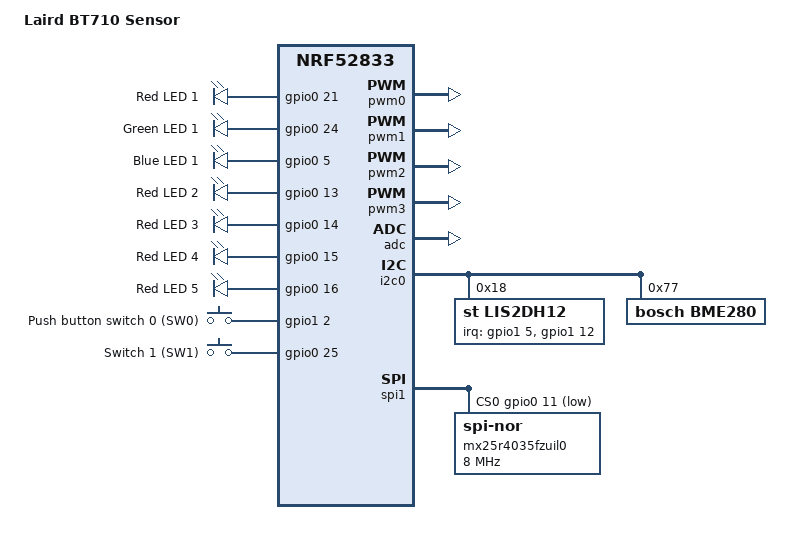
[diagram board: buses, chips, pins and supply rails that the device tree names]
/*
 * Copyright (c) 2020 Laird Connectivity
 *
 * SPDX-License-Identifier: Apache-2.0
 */

/dts-v1/;
#include <nordic/nrf52833_qiaa.dtsi>
#include "bt710-pinctrl.dtsi"

/ {
	model = "Laird BT710 Sensor";
	compatible = "lairdconnect,bt710";

	chosen {
		zephyr,sram = &sram0;
		zephyr,flash = &flash0;
		zephyr,code-partition = &slot0_partition;
		zephyr,ieee802154 = &ieee802154;
	};

	leds {
		compatible = "gpio-leds";

		led1red: led_1red {
			gpios = <&gpio0 21 GPIO_ACTIVE_HIGH>;
			label = "Red LED 1";
		};

		led1green: led_1green {
			gpios = <&gpio0 24 GPIO_ACTIVE_HIGH>;
			label = "Green LED 1";
		};

		led1blue: led_1blue {
			gpios = <&gpio0 5 GPIO_ACTIVE_HIGH>;
			label = "Blue LED 1";
		};

		led2red: led_2red {
			gpios = <&gpio0 13 GPIO_ACTIVE_HIGH>;
			label = "Red LED 2";
		};

		led3red: led_3red {
			gpios = <&gpio0 14 GPIO_ACTIVE_HIGH>;
			label = "Red LED 3";
		};

		led4red: led_4red {
			gpios = <&gpio0 15 GPIO_ACTIVE_HIGH>;
			label = "Red LED 4";
		};

		led5red: led_5red {
			gpios = <&gpio0 16 GPIO_ACTIVE_HIGH>;
			label = "Red LED 5";
		};
	};

/*
	pwmleds {
		compatible = "pwm-leds";

		led1red_pwm: led_pwm_1red {
			pwms = <&pwm1 21>;
			label = "Red PWM LED 1";
		};

		led1green_pwm: led_pwm_1green {
			pwms = <&pwm1 24>;
			label = "Green PWM LED 1";
		};

		led1blue_pwm: led_pwm_1blue {
			pwms = <&pwm1 5>;
			label = "Blue PWM LED 1";
		};

		led2red_pwm: led_pwm_2red {
			pwms = <&pwm2 13>;
			label = "Red PWM LED 2";
		};

		led3red_pwm: led_pwm_3red {
			pwms = <&pwm2 14>;
			label = "Red PWM LED 2";
		};

		led4red_pwm: led_pwm_4red {
			pwms = <&pwm2 15>;
			label = "Red PWM LED 2";
		};

		led5red_pwm: led_pwm_5red {
			pwms = <&pwm2 16>;
			label = "Red PWM LED 2";
		};

	};
*/

	buttons {
		compatible = "gpio-keys";

		button0: button_0 {
			gpios = <&gpio1 2 GPIO_PULL_UP>;
			label = "Push button switch 0 (SW0)";
		};

		switch1: button_1 {
			gpios = <&gpio0 25 GPIO_PULL_DOWN>;
			label = "Switch 1 (SW1)";
		};
	};

/*
	piezos {
		compatible = "pwm-leds";

		piezo0: piezo_0 {
			pwms = <&pwm0 17>;
			label = "Piezo";
		};
	};

	vibemotors {
		compatible = "pwm-leds";

		vibe0: vibe_0 {
			pwms = <&pwm3 20>;
			label = "Vibe Motor";
		};
	};
*/

	aliases {
		led0 = &led1red;
		led1r = &led1red;
		led1g = &led1green;
		led1b = &led1blue;
		led2 = &led2red;
		led3 = &led3red;
		led4 = &led4red;
		led5 = &led5red;
/*
		led1rpwm = &led1red_pwm;
		led1gpwm = &led1green_pwm;
		led1bpwm = &led1blue_pwm;
		led2pwm = &led2red_pwm;
		led3pwm = &led3red_pwm;
		led4pwm = &led4red_pwm;
		led5pwm = &led5red_pwm;
*/
		sw0 = &button0;
		sw1 = &switch1;
/*
		piezo = &piezo0;
		vibemotor = &vibe0;
*/
	};
};

&pwm0 {
	status = "okay";
	pinctrl-0 = <&pwm0_default>;
	pinctrl-1 = <&pwm0_sleep>;
	pinctrl-names = "default", "sleep";
/*
	ch0-pin = <17>;
*/
};

&pwm1 {
	status = "okay";
	pinctrl-0 = <&pwm1_default>;
	pinctrl-1 = <&pwm1_sleep>;
	pinctrl-names = "default", "sleep";
/*
    ch0-pin = <21>;
    ch1-pin = <24>;
    ch2-pin = <5>;
*/
};

&pwm2 {
	status = "okay";
	pinctrl-0 = <&pwm2_default>;
	pinctrl-1 = <&pwm2_sleep>;
	pinctrl-names = "default", "sleep";
/*
    ch0-pin = <13>;
    ch1-pin = <14>;
    ch2-pin = <15>;
    ch3-pin = <16>;
*/
};

&pwm3 {
	status = "okay";
	pinctrl-0 = <&pwm3_default>;
	pinctrl-1 = <&pwm3_sleep>;
	pinctrl-names = "default", "sleep";
/*
	ch0-pin = <20>;
*/
};

&adc {
	status = "okay";
};

&gpiote {
	status = "okay";
};

&gpio0 {
	status = "okay";
};

&gpio1 {
	status = "okay";
};

&uart0 {
	compatible = "nordic,nrf-uart";
	current-speed = <115200>;
	status = "disabled";
	pinctrl-0 = <&uart0_default>;
	pinctrl-1 = <&uart0_sleep>;
	pinctrl-names = "default", "sleep";
};

&i2c0 {
	compatible = "nordic,nrf-twi";
	status = "okay";
	pinctrl-0 = <&i2c0_default>;
	pinctrl-1 = <&i2c0_sleep>;
	pinctrl-names = "default", "sleep";

	lis2dh12@18 {
		compatible = "st,lis2dh12", "st,lis2dh";
		reg = <0x18>;
		irq-gpios = <&gpio1 5 GPIO_ACTIVE_HIGH>,
			    <&gpio1 12 GPIO_ACTIVE_HIGH>;
	};

	bme280@77 {
		compatible = "bosch,bme280";
		reg = <0x77>;
	};
};

&spi1 {
	compatible = "nordic,nrf-spi";
	status = "okay";
	pinctrl-0 = <&spi1_default>;
	pinctrl-1 = <&spi1_sleep>;
	pinctrl-names = "default", "sleep";
	cs-gpios = <&gpio0 11 GPIO_ACTIVE_LOW>;

	mx25r4035fzuil0@0 {
		compatible = "jedec,spi-nor";
		reg = <0>;
		spi-max-frequency = <8000000>;
		size = <0x400000>;
		has-dpd;
		t-enter-dpd = <10000>;
		t-exit-dpd = <35000>;
		jedec-id = [c2 28 13];
	};
};

&flash0 {
	partitions {
		compatible = "fixed-partitions";
		#address-cells = <1>;
		#size-cells = <1>;

		boot_partition: partition@0 {
			label = "mcuboot";
			reg = <0x000000000 0xC000>;
		};
		slot0_partition: partition@c000 {
			label = "image-0";
			reg = <0x0000C000 0x32000>;
		};
		slot1_partition: partition@3e000 {
			label = "image-1";
			reg = <0x0003E000 0x32000>;
		};
		scratch_partition: partition@70000 {
			label = "image-scratch";
			reg = <0x00070000 0xA000>;
		};
		storage_partition: partition@7a000 {
			label = "storage";
			reg = <0x0007A000 0x00006000>;
		};
	};
};
